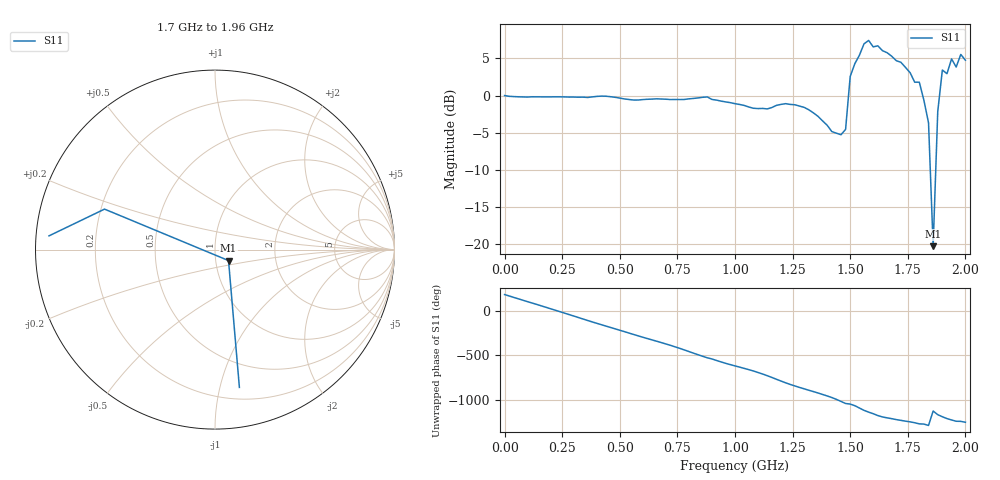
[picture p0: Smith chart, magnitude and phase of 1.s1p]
# HZ S RI R 50
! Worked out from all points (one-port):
!   101 points, 50 kHz to 2 GHz, reference 50 ohm
!   lowest |S11| = -20.3 dB at 1.86 GHz (marker M1), VSWR 1.21, Z = 57.7 - j7.12 ohm
!   |S11| at or under -10 dB: 1.848 GHz to 1.871 GHz (23.71 MHz wide, 1.27 % of centre)
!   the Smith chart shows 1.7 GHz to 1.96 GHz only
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50000  -0.9997 0.00477
1.20047e8  0.0938 0.9764
2.00045e8  0.9149 0.35
2.600435e8  0.8695 -0.4499
3.60041e8  -0.3196 -0.9164
4.40039e8  -0.9799 -0.1369
5.000375e8  -0.7521 0.5992
5.800355e8  0.1798 0.9155
6.600335e8  0.8983 0.3104
7.60031e8  0.4642 -0.8173
8.80028e8  -0.9481 -0.242
1.000025e9  -0.2122 0.8558
1.140022e9  0.8095 -0.0756
1.20002e9  0.3635 -0.7925
1.260018e9  -0.4295 -0.753
1.360016e9  -0.6908 0.2209
1.480013e9  0.4201 0.4173
1.500012e9  1.054 0.8323
1.520012e9  1.534 0.5701
1.560011e9  1.899 -1.165
1.62001e9  0.00144 -2.16
1.680008e9  -1.039 -1.518
1.760006e9  -1.338 -0.4893
1.840004e9  -0.6155 0.2256
1.860004e9  0.0754 -0.0611
1.900002e9  -0.332 -1.447
1.940002e9  -1.329 -1.159
2e9  -1.666 -0.4599
